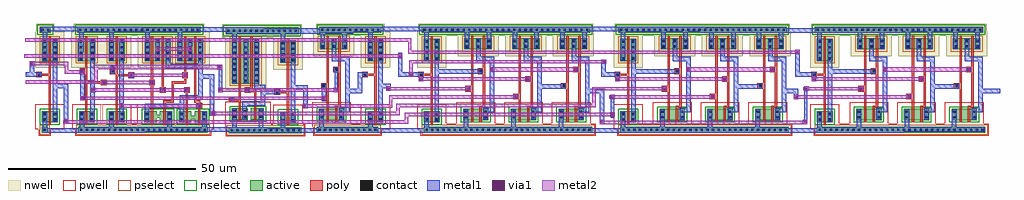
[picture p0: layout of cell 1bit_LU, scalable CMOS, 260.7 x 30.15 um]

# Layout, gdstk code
import gdstk
lib = gdstk.Library(unit=1e-6, precision=1e-09)
def R(c, l, rs):  # rectangles x0, y0, x1, y1
    for r in rs: c.add(gdstk.rectangle(r[:2], r[2:], *l))
def A(c, l, x, y, w, h, nx, ny, dx, dy):  # array of equal rectangles
    R(c, l, [(x+i*dx, y+j*dy, x+i*dx+w, y+j*dy+h) for i in range(nx) for j in range(ny)])
contact = (25, 0)
pwell = (41, 0)
nwell = (42, 0)
active = (43, 0)
pselect = (44, 0)
nselect = (45, 0)
poly = (46, 0)
metal1 = (49, 0)
via1 = (50, 0)
metal2 = (51, 0)

c_2mux1 = lib.new_cell('2mux1')
A(c_2mux1, contact, -28.2, 1.35, 0.6, 0.6, 30, 1, 1.5, 0)
A(c_2mux1, contact, -28.2, 20.4, 0.6, 0.6, 1, 4, 0, 1.5)
A(c_2mux1, contact, -25.5, 20.4, 0.6, 0.6, 1, 4, 0, 1.5)
A(c_2mux1, contact, -28.8, 28.05, 0.6, 0.6, 30, 1, 1.5, 0)
R(c_2mux1, contact, [(-28.2,4.05,-27.6,4.65), (-25.5,4.05,-24.9,4.65), (-17.7,4.65,-17.1,5.25), (-12.45,4.65,-11.85,5.25), (-4.95,4.65,-4.35,5.25), (0.3,4.65,0.9,5.25), (7.8,4.65,8.4,5.25), (13.05,4.65,13.65,5.25), (-28.2,5.55,-27.6,6.15), (-25.5,5.55,-24.9,6.15), (-17.7,6.15,-17.1,6.75), (-12.45,6.15,-11.85,6.75), (-4.95,6.15,-4.35,6.75), (0.3,6.15,0.9,6.75), (7.8,6.15,8.4,6.75), (13.05,6.15,13.65,6.75), (-4.35,10.2,-3.75,10.8), (-17.1,12.3,-16.5,12.9), (8.4,13.05,9,13.65), (-1.05,14.85,-0.45,15.45), (-29.7,16.05,-29.1,16.65), (-13.8,16.95,-13.2,17.55), (11.7,17.4,12.3,18), (-17.4,23.55,-16.8,24.15), (-14.4,23.55,-13.8,24.15), (-11.55,23.55,-10.95,24.15), (-4.65,23.55,-4.05,24.15), (-1.65,23.55,-1.05,24.15), (1.2,23.55,1.8,24.15), (8.1,23.55,8.7,24.15), (11.1,23.55,11.7,24.15), (13.95,23.55,14.55,24.15), (-17.4,25.05,-16.8,25.65), (-14.4,25.05,-13.8,25.65), (-11.55,25.05,-10.95,25.65), (-4.65,25.05,-4.05,25.65), (-1.65,25.05,-1.05,25.65), (1.2,25.05,1.8,25.65), (8.1,25.05,8.7,25.65), (11.1,25.05,11.7,25.65), (13.95,25.05,14.55,25.65)])
A(c_2mux1, pwell, -19.65, 3.15, 5.025, 4.5, 3, 1, 12.75, 0)
A(c_2mux1, pwell, -14.625, 3.45, 4.725, 4.5, 3, 1, 12.75, 0)
A(c_2mux1, pwell, -16.875, 3.6, 4.5, 4.5, 3, 1, 12.75, 0)
R(c_2mux1, pwell, [(-29.55,0,17.25,3.3), (-30.45,1.8,-25.35,8.4), (-29.55,1.8,-23.55,8.4), (-27.75,1.8,-22.65,8.4), (-19.95,2.4,-14.85,9), (-18.75,2.4,-12.75,9), (-16.5,2.4,-10.5,9), (-14.7,2.4,-9.6,9), (-7.2,2.4,-2.1,9), (-6,2.4,0,9), (-3.75,2.4,2.25,9), (-1.95,2.4,3.15,9), (5.55,2.4,10.65,9), (6.75,2.4,12.75,9), (9,2.4,15,9), (10.8,2.4,15.9,9), (-30.15,2.85,-25.425,7.35), (-27.675,2.85,-22.95,7.35)])
A(c_2mux1, nwell, -16.875, 23.1, 5.175, 4.5, 3, 1, 12.75, 0)
A(c_2mux1, nwell, -13.725, 23.1, 4.875, 4.5, 3, 1, 12.75, 0)
R(c_2mux1, nwell, [(-30.45,18.15,-25.35,27.75), (-29.55,18.15,-23.55,27.75), (-27.75,18.15,-22.65,27.75), (-30.15,20.7,-25.425,25.2), (-27.675,20.7,-22.95,25.2), (-19.65,21.3,-14.55,27.9), (-18.75,21.3,-12.75,27.9), (-16.65,21.3,-11.55,27.9), (-15.6,21.3,-9.6,27.9), (-13.8,21.3,-8.7,27.9), (-6.9,21.3,-1.8,27.9), (-6,21.3,0,27.9), (-3.9,21.3,1.2,27.9), (-2.85,21.3,3.15,27.9), (-1.05,21.3,4.05,27.9), (5.85,21.3,10.95,27.9), (6.75,21.3,12.75,27.9), (8.85,21.3,13.95,27.9), (9.9,21.3,15.9,27.9), (11.7,21.3,16.8,27.9), (-19.35,23.1,-14.625,27.6), (-16.2,23.1,-11.475,27.6), (-6.6,23.1,-1.875,27.6), (-3.45,23.1,1.275,27.6), (6.15,23.1,10.875,27.6), (9.3,23.1,14.025,27.6), (-30.15,26.7,16.65,30)])
A(c_2mux1, active, -17.85, 4.95, 1.425, 0.9, 3, 1, 12.75, 0)
A(c_2mux1, active, -12.825, 5.25, 1.125, 0.9, 3, 1, 12.75, 0)
A(c_2mux1, active, -15.075, 5.4, 0.9, 0.9, 3, 1, 12.75, 0)
A(c_2mux1, active, -15.075, 24.9, 1.575, 0.9, 3, 1, 12.75, 0)
A(c_2mux1, active, -11.925, 24.9, 1.275, 0.9, 3, 1, 12.75, 0)
R(c_2mux1, active, [(-28.65,0.9,16.35,2.4), (-28.65,3.6,-27.15,6.6), (-27.75,3.6,-25.35,6.6), (-25.95,3.6,-24.45,6.6), (-18.15,4.2,-16.65,7.2), (-16.95,4.2,-14.55,7.2), (-14.7,4.2,-12.3,7.2), (-12.9,4.2,-11.4,7.2), (-5.4,4.2,-3.9,7.2), (-4.2,4.2,-1.8,7.2), (-1.95,4.2,0.45,7.2), (-0.15,4.2,1.35,7.2), (7.35,4.2,8.85,7.2), (8.55,4.2,10.95,7.2), (10.8,4.2,13.2,7.2), (12.6,4.2,14.1,7.2), (-28.35,4.65,-27.225,5.55), (-25.875,4.65,-24.75,5.55), (-28.65,19.95,-27.15,25.95), (-27.75,19.95,-25.35,25.95), (-25.95,19.95,-24.45,25.95), (-28.35,22.5,-27.225,23.4), (-25.875,22.5,-24.75,23.4), (-17.85,23.1,-16.35,26.1), (-16.95,23.1,-14.55,26.1), (-14.85,23.1,-13.35,26.1), (-13.8,23.1,-11.4,26.1), (-12,23.1,-10.5,26.1), (-5.1,23.1,-3.6,26.1), (-4.2,23.1,-1.8,26.1), (-2.1,23.1,-0.6,26.1), (-1.05,23.1,1.35,26.1), (0.75,23.1,2.25,26.1), (7.65,23.1,9.15,26.1), (8.55,23.1,10.95,26.1), (10.65,23.1,12.15,26.1), (11.7,23.1,14.1,26.1), (13.5,23.1,15,26.1), (-17.55,24.9,-16.425,25.8), (-14.4,24.9,-13.275,25.8), (-4.8,24.9,-3.675,25.8), (-1.65,24.9,-0.525,25.8), (7.95,24.9,9.075,25.8), (11.1,24.9,12.225,25.8), (-29.25,27.6,15.75,29.1)])
A(c_2mux1, pselect, -15.675, 24.3, 2.775, 2.1, 3, 1, 12.75, 0)
A(c_2mux1, pselect, -12.525, 24.3, 2.475, 2.1, 3, 1, 12.75, 0)
R(c_2mux1, pselect, [(-29.25,0.3,16.95,3), (-29.25,19.35,-26.55,26.55), (-28.35,19.35,-24.75,26.55), (-26.55,19.35,-23.85,26.55), (-28.95,21.9,-26.625,24), (-26.475,21.9,-24.15,24), (-18.45,22.5,-15.75,26.7), (-17.55,22.5,-13.95,26.7), (-15.45,22.5,-12.75,26.7), (-14.4,22.5,-10.8,26.7), (-12.6,22.5,-9.9,26.7), (-5.7,22.5,-3,26.7), (-4.8,22.5,-1.2,26.7), (-2.7,22.5,0,26.7), (-1.65,22.5,1.95,26.7), (0.15,22.5,2.85,26.7), (7.05,22.5,9.75,26.7), (7.95,22.5,11.55,26.7), (10.05,22.5,12.75,26.7), (11.1,22.5,14.7,26.7), (12.9,22.5,15.6,26.7), (-18.15,24.3,-15.825,26.4), (-15,24.3,-12.675,26.4), (-5.4,24.3,-3.075,26.4), (-2.25,24.3,0.075,26.4), (7.35,24.3,9.675,26.4), (10.5,24.3,12.825,26.4)])
A(c_2mux1, nselect, -18.45, 4.35, 2.625, 2.1, 3, 1, 12.75, 0)
A(c_2mux1, nselect, -13.425, 4.65, 2.325, 2.1, 3, 1, 12.75, 0)
A(c_2mux1, nselect, -15.675, 4.8, 2.1, 2.1, 3, 1, 12.75, 0)
R(c_2mux1, nselect, [(-29.25,3,-26.55,7.2), (-28.35,3,-24.75,7.2), (-26.55,3,-23.85,7.2), (-18.75,3.6,-16.05,7.8), (-17.55,3.6,-13.95,7.8), (-15.3,3.6,-11.7,7.8), (-13.5,3.6,-10.8,7.8), (-6,3.6,-3.3,7.8), (-4.8,3.6,-1.2,7.8), (-2.55,3.6,1.05,7.8), (-0.75,3.6,1.95,7.8), (6.75,3.6,9.45,7.8), (7.95,3.6,11.55,7.8), (10.2,3.6,13.8,7.8), (12,3.6,14.7,7.8), (-28.95,4.05,-26.625,6.15), (-26.475,4.05,-24.15,6.15), (-29.85,27,16.35,29.7)])
A(c_2mux1, poly, -13.8, 7.5, 1.5, 0.6, 3, 1, 12.75, 0)
R(c_2mux1, poly, [(-26.85,3,-26.25,7.2), (-16.05,3.6,-15.45,7.8), (-13.8,3.6,-13.2,7.8), (-3.3,3.6,-2.7,7.8), (-1.05,3.6,-0.45,7.8), (9.45,3.6,10.05,7.8), (11.7,3.6,12.3,7.8), (-26.85,6.9,-26.25,7.5), (-26.85,6.9,-26.25,16.65), (-16.05,7.5,-15.45,12.75), (-12.9,7.5,-12.3,17.4), (-3.3,7.5,-2.7,10.65), (-0.15,7.5,0.45,15.45), (9.45,7.5,10.05,13.5), (12.6,7.5,13.2,18.15), (-4.8,9.75,-3.3,11.25), (-4.5,10.05,-2.7,10.65), (-3.3,10.05,-2.7,22.8), (-17.55,11.85,-16.05,13.35), (-17.25,12.15,-15.45,12.75), (-16.05,12.15,-15.45,22.8), (7.95,12.6,9.45,14.1), (8.25,12.9,10.05,13.5), (9.45,12.9,10.05,22.8), (-1.5,14.4,0,15.9), (-1.05,14.85,0.45,15.45), (-0.15,14.85,0.45,22.8), (-30.15,15.6,-28.65,17.1), (-29.7,16.05,-26.25,16.65), (-26.85,16.05,-26.25,19.65), (-14.25,16.5,-12.75,18), (-13.8,16.8,-12.3,17.4), (-12.9,16.8,-12.3,22.8), (11.25,16.95,12.75,18.45), (11.7,17.55,13.2,18.15), (12.6,17.55,13.2,22.8), (-26.85,19.35,-26.25,26.55), (-16.05,22.5,-15.45,26.7), (-12.9,22.5,-12.3,26.7), (-3.3,22.5,-2.7,26.7), (-0.15,22.5,0.45,26.7), (9.45,22.5,10.05,26.7), (12.6,22.5,13.2,26.7)])
A(c_2mux1, metal1, -12.75, 5.1, 1.2, 2.4, 3, 1, 12.75, 0)
A(c_2mux1, metal1, -12.75, 6.3, 2.85, 1.2, 3, 2, 12.75, 13.65)
A(c_2mux1, metal1, -14.7, 19.95, 3.15, 1.2, 3, 1, 12.75, 0)
A(c_2mux1, metal1, -14.7, 19.95, 1.2, 6, 3, 1, 12.75, 0)
R(c_2mux1, metal1, [(-28.5,1.05,16.2,2.25), (-28.5,1.05,-27.3,5.7), (-18,1.05,-16.8,6.3), (-5.25,1.05,-4.05,6.3), (7.35,1.05,8.55,6.3), (-28.5,3.75,-27.3,6.45), (-25.8,3.75,-24.6,6.45), (-18,4.35,-16.8,7.05), (-12.75,4.35,-11.55,7.05), (-5.25,4.35,-4.05,7.05), (0,4.35,1.2,7.05), (7.5,4.35,8.7,7.05), (12.75,4.35,13.95,7.05), (-25.8,4.5,-24.6,17.85), (-11.1,6.3,-9.9,18), (1.65,6.3,2.85,13.8), (14.4,6.3,15.6,12.6), (-4.8,9.9,-3.45,11.1), (-4.65,9.9,-3.45,11.1), (-4.65,9.9,-3.45,11.1), (14.4,11.4,17.25,12.6), (14.4,11.4,15.6,21.15), (-17.4,12,-16.2,13.2), (-17.4,12,-16.2,13.2), (-17.25,12,-16.35,13.05), (1.65,12.6,2.85,21.15), (1.65,12.6,4.95,13.8), (3.75,12.6,9.3,13.8), (8.1,12.6,9.3,13.95), (8.1,12.75,9.3,13.95), (-30,14.55,-28.8,15.75), (-30,14.55,-28.8,16.95), (-1.35,14.55,-0.15,15.75), (-1.35,14.55,-0.15,15.75), (-1.2,14.7,-0.3,15.6), (-31.65,15.75,-28.8,16.95), (-30,15.75,-28.8,16.95), (-25.8,16.65,-24.6,23.55), (-25.8,16.65,-12.9,17.85), (-14.1,16.65,-12.9,17.85), (-11.1,16.8,-9.9,21.15), (-11.1,17.1,-9.9,18.3), (11.25,17.1,12.45,18.3), (11.25,17.1,12.45,18.3), (11.25,17.1,12.6,18.3), (11.25,17.1,12.6,18.3), (11.4,17.1,12.6,18.3), (-28.5,20.1,-27.3,25.8), (-25.8,20.1,-24.6,25.8), (-28.5,22.35,-27.3,28.95), (-17.7,23.25,-16.5,25.95), (-14.7,23.25,-13.5,25.95), (-11.85,23.25,-10.65,25.95), (-4.95,23.25,-3.75,25.95), (-1.95,23.25,-0.75,25.95), (0.9,23.25,2.1,25.95), (7.8,23.25,9,25.95), (10.8,23.25,12,25.95), (13.65,23.25,14.85,25.95), (-17.7,24,-16.5,28.95), (-11.85,24,-10.65,28.95), (-4.95,24,-3.75,28.95), (0.9,24,2.1,28.95), (7.8,24,9,28.95), (13.65,24,14.85,28.95), (-29.1,27.75,15.6,28.95), (-2.4,27.75,2.1,28.95)])
R(c_2mux1, via1, [(-4.35,10.2,-3.75,10.8), (-17.1,12.3,-16.5,12.9), (-29.7,14.85,-29.1,15.45), (-1.05,14.85,-0.45,15.45), (-10.8,17.4,-10.2,18), (11.55,17.4,12.15,18), (11.55,17.4,12.15,18)])
R(c_2mux1, metal2, [(-31.65,9.9,-3.75,10.8), (-4.65,9.9,-3.45,11.1), (-4.65,9.9,-3.75,10.95), (-17.4,12,-16.2,13.2), (-31.65,12.15,-18.3,13.05), (-19.2,12.15,-16.35,13.05), (-30,14.55,-28.8,15.75), (-1.35,14.55,-0.15,15.75), (-29.85,14.7,-5.25,15.6), (-6.15,14.7,-0.3,15.6), (-11.1,17.1,-9.9,18.3), (-11.1,17.1,-6.15,18.3), (-7.35,17.1,12.45,18.3), (11.25,17.1,12.45,18.3), (11.25,17.1,12.45,18.3), (11.25,17.1,12.45,18.3)])

c_4mux1 = lib.new_cell('4mux1')
R(c_4mux1, metal1, [(-52.65,0.9,1.05,2.1), (-0.15,0.9,53.55,2.1), (-27.6,3.15,-26.4,4.35), (26.7,3.15,27.9,4.35), (-27.6,3.45,-26.4,12.6), (-27.6,3.45,-26.4,5.1), (27,3.6,27.9,7.65), (-24.6,4.8,-23.7,7.2), (-24.6,4.8,-23.7,6.15), (-24.75,5.1,-23.55,6.3), (-24.6,6.3,-23.7,10.8), (27,6.75,27.9,13.05), (-24.75,9.75,-23.55,10.95), (24.3,9.75,25.5,10.95), (24.3,9.75,25.5,12.6), (-29.85,11.4,-26.4,12.6), (22.65,11.4,25.5,12.6), (75.15,11.4,78.45,12.6), (27,12,28.2,13.2), (-79.95,15.75,-77.4,16.95), (-78.6,15.75,-77.4,16.95), (-78.6,15.75,-76.35,16.95), (-27.15,15.75,-25.95,20.4), (-27.15,15.75,-23.85,16.95), (24.6,15.75,28.65,16.95), (24.6,15.75,25.8,22.95), (-27,19.2,-25.8,20.4), (24.6,21.75,25.8,22.95), (-0.75,27.6,52.95,28.8), (-53.25,27.9,0.45,29.1)])
R(c_4mux1, via1, [(-27.3,3.45,-26.7,4.05), (27,3.45,27.6,4.05), (-24.45,5.4,-23.85,6), (-24.45,10.05,-23.85,10.65), (24.6,10.05,25.2,10.65), (27.3,12.3,27.9,12.9), (-78.3,16.05,-77.7,16.65), (-26.7,19.5,-26.1,20.1), (24.9,22.05,25.5,22.65)])
R(c_4mux1, metal2, [(-27.6,3.15,-26.4,4.35), (-27.45,3.15,-24.3,4.05), (-25.2,3.15,27.75,4.05), (26.7,3.15,27.9,4.35), (-24.75,5.1,-23.55,6.3), (-78.9,5.25,-26.55,6.15), (-27.45,5.25,-23.7,6.15), (-78.9,7.65,-28.65,8.55), (-29.55,7.65,-28.65,13.05), (-24.75,9.75,-23.55,10.95), (24.3,9.75,25.5,10.95), (-78.9,9.9,-76.65,10.8), (-25.05,9.9,-23.7,10.8), (24.45,9.9,28.35,10.8), (27,12,28.2,13.2), (-78.9,12.15,-76.65,13.05), (-29.55,12.15,-24.15,13.05), (26.85,12.15,28.35,13.05), (-78.6,15.75,-77.4,16.95), (-78.45,15.9,-77.55,20.25), (-27,19.2,-25.8,20.4), (-78.45,19.35,-25.95,20.25), (24.6,21.75,25.8,22.95), (-78.75,21.9,-24.3,22.8), (-25.2,21.9,25.65,22.8)])
c_4mux1.add(gdstk.Reference(c_2mux1, (-45.9,0)))
c_4mux1.add(gdstk.Reference(c_2mux1, (6.6,0)))
c_4mux1.add(gdstk.Reference(c_2mux1, (59.1,0)))

and_ = lib.new_cell('and')
A(and_, contact, -12.6, 1.35, 0.6, 0.6, 11, 1, 1.5, 0)
A(and_, contact, 1.05, 20.4, 0.6, 0.6, 1, 4, 0, 1.5)
A(and_, contact, 3.75, 20.4, 0.6, 0.6, 1, 4, 0, 1.5)
A(and_, contact, -11.85, 28.05, 0.6, 0.6, 11, 1, 1.5, 0)
R(and_, contact, [(1.05,4.05,1.65,4.65), (3.75,4.05,4.35,4.65), (-12,4.65,-11.4,5.25), (-6.75,4.65,-6.15,5.25), (1.05,5.55,1.65,6.15), (3.75,5.55,4.35,6.15), (-12,6.15,-11.4,6.75), (-6.75,6.15,-6.15,6.75), (-11.4,13.05,-10.8,13.65), (-0.45,16.05,0.15,16.65), (-8.1,17.4,-7.5,18), (-11.7,23.55,-11.1,24.15), (-8.7,23.55,-8.1,24.15), (-5.85,23.55,-5.25,24.15), (-11.7,25.05,-11.1,25.65), (-8.7,25.05,-8.1,25.65), (-5.85,25.05,-5.25,25.65)])
R(and_, pwell, [(-13.95,0,4.35,3.3), (-1.2,1.8,3.9,8.4), (-0.3,1.8,5.7,8.4), (1.5,1.8,6.6,8.4), (-14.25,2.4,-9.15,9), (-13.05,2.4,-7.05,9), (-10.8,2.4,-4.8,9), (-9,2.4,-3.9,9), (-0.9,2.85,3.825,7.35), (1.575,2.85,6.3,7.35), (-13.95,3.15,-8.925,7.65), (-8.925,3.45,-4.2,7.95), (-11.175,3.6,-6.675,8.1)])
R(and_, nwell, [(-1.2,18.15,3.9,27.75), (-0.3,18.15,5.7,27.75), (1.5,18.15,6.6,27.75), (-0.9,20.7,3.825,25.2), (1.575,20.7,6.3,25.2), (-13.95,21.3,-8.85,27.9), (-13.05,21.3,-7.05,27.9), (-10.95,21.3,-5.85,27.9), (-9.9,21.3,-3.9,27.9), (-8.1,21.3,-3,27.9), (-13.65,23.25,-8.925,27.75), (-11.175,23.25,-6,27.75), (-10.5,23.25,-5.775,27.75), (-8.025,23.25,-3.15,27.75), (-13.2,26.7,5.1,30)])
R(and_, active, [(-13.05,0.9,3.45,2.4), (0.6,3.6,2.1,6.6), (1.5,3.6,3.9,6.6), (3.3,3.6,4.8,6.6), (-12.45,4.2,-10.95,7.2), (-11.25,4.2,-8.85,7.2), (-9,4.2,-6.6,7.2), (-7.2,4.2,-5.7,7.2), (0.9,4.65,2.025,5.55), (3.375,4.65,4.5,5.55), (-12.15,4.95,-10.725,5.85), (-7.125,5.25,-6,6.15), (-9.375,5.4,-8.475,6.3), (0.6,19.95,2.1,25.95), (1.5,19.95,3.9,25.95), (3.3,19.95,4.8,25.95), (0.9,22.5,2.025,23.4), (3.375,22.5,4.5,23.4), (-12.15,23.1,-10.65,26.1), (-11.25,23.1,-8.85,26.1), (-9.15,23.1,-7.65,26.1), (-8.1,23.1,-5.7,26.1), (-6.3,23.1,-4.8,26.1), (-11.85,25.05,-10.725,25.95), (-9.375,25.05,-7.8,25.95), (-8.7,25.05,-7.575,25.95), (-6.225,25.05,-4.95,25.95), (-12.3,27.6,4.2,29.1)])
R(and_, pselect, [(-13.65,0.3,4.05,3), (0,19.35,2.7,26.55), (0.9,19.35,4.5,26.55), (2.7,19.35,5.4,26.55), (0.3,21.9,2.625,24), (2.775,21.9,5.1,24), (-12.75,22.5,-10.05,26.7), (-11.85,22.5,-8.25,26.7), (-9.75,22.5,-7.05,26.7), (-8.7,22.5,-5.1,26.7), (-6.9,22.5,-4.2,26.7), (-12.45,24.45,-10.125,26.55), (-9.975,24.45,-7.2,26.55), (-9.3,24.45,-6.975,26.55), (-6.825,24.45,-4.35,26.55)])
R(and_, nselect, [(0,3,2.7,7.2), (0.9,3,4.5,7.2), (2.7,3,5.4,7.2), (-13.05,3.6,-10.35,7.8), (-11.85,3.6,-8.25,7.8), (-9.6,3.6,-6,7.8), (-7.8,3.6,-5.1,7.8), (0.3,4.05,2.625,6.15), (2.775,4.05,5.1,6.15), (-12.75,4.35,-10.125,6.45), (-7.725,4.65,-5.4,6.75), (-9.975,4.8,-7.875,6.9), (-12.9,27,4.8,29.7)])
R(and_, poly, [(2.4,3,3,7.2), (-10.35,3.6,-9.75,7.8), (-8.1,3.6,-7.5,7.8), (2.4,6.9,3,7.5), (2.4,6.9,3,16.65), (-10.35,7.5,-9.75,13.5), (-8.1,7.5,-6.6,8.1), (-7.2,7.5,-6.6,18.15), (-11.85,12.6,-10.35,14.1), (-11.55,12.9,-9.75,13.5), (-10.35,12.9,-9.75,22.8), (-0.9,15.6,0.6,17.1), (-0.45,16.05,3,16.65), (2.4,16.05,3,19.65), (-8.55,16.95,-7.05,18.45), (-8.1,17.55,-6.6,18.15), (-7.2,17.55,-6.6,22.8), (2.4,19.35,3,26.55), (-10.35,22.5,-9.75,26.7), (-7.2,22.5,-6.6,26.7)])
R(and_, metal1, [(-12.9,1.05,3.3,2.25), (-12.3,1.05,-11.1,6.3), (-5.85,1.05,1.95,2.25), (0.75,1.05,1.95,5.7), (0.75,3.75,1.95,6.45), (3.45,3.75,4.65,6.45), (-12.3,4.35,-11.1,7.05), (-7.05,4.35,-5.85,7.05), (3.45,4.5,4.65,13.95), (-7.05,5.1,-5.85,7.5), (-7.05,6.3,-4.2,7.5), (-5.4,6.3,-4.2,12.6), (-5.4,11.4,-4.2,21.15), (-5.4,11.4,-2.1,12.6), (-3.3,11.4,-0.9,12.6), (-2.1,11.4,-0.9,16.95), (-11.7,12.75,-10.5,13.95), (3.45,12.75,6.75,13.95), (3.45,12.75,4.65,23.55), (-2.1,15.75,0.45,16.95), (-0.75,15.75,0.45,16.95), (-8.4,17.1,-7.2,18.3), (-9,19.95,-5.85,21.15), (-9,19.95,-7.8,25.95), (-7.05,19.95,-4.2,21.15), (0.75,20.1,1.95,25.8), (3.45,20.1,4.65,25.8), (0.75,22.35,1.95,28.95), (-12,23.25,-10.8,25.95), (-9,23.25,-7.8,25.95), (-6.15,23.25,-4.95,25.95), (-12,24,-10.8,28.95), (-6.15,24,-4.95,28.95), (-12.15,27.75,4.05,28.95), (-9.45,27.75,-4.95,28.95)])

not_ = lib.new_cell('not')
A(not_, contact, 1.35, 20.4, 0.6, 0.6, 1, 4, 0, 1.5)
A(not_, contact, 4.05, 20.4, 0.6, 0.6, 1, 4, 0, 1.5)
R(not_, contact, [(1.35,1.35,1.95,1.95), (1.35,4.05,1.95,4.65), (4.05,4.05,4.65,4.65), (1.35,5.55,1.95,6.15), (4.05,5.55,4.65,6.15), (-0.15,16.05,0.45,16.65), (0.75,28.05,1.35,28.65), (2.25,28.05,2.85,28.65)])
R(not_, pwell, [(0,0,3.3,3.3), (-0.9,1.8,4.2,8.4), (0,1.8,6,8.4), (1.8,1.8,6.9,8.4), (-0.6,2.85,4.125,7.35), (1.875,2.85,6.6,7.35)])
R(not_, nwell, [(-0.9,18.15,4.2,27.75), (0,18.15,6,27.75), (1.8,18.15,6.9,27.75), (-0.6,20.7,4.125,25.2), (1.875,20.7,6.6,25.2), (-0.6,26.7,4.2,30)])
R(not_, active, [(0.9,0.9,2.4,2.4), (0.9,3.6,2.4,6.6), (1.8,3.6,4.2,6.6), (3.6,3.6,5.1,6.6), (1.2,4.65,2.325,5.55), (3.675,4.65,4.8,5.55), (0.9,19.95,2.4,25.95), (1.8,19.95,4.2,25.95), (3.6,19.95,5.1,25.95), (1.2,22.5,2.325,23.4), (3.675,22.5,4.8,23.4), (0.3,27.6,3.3,29.1)])
R(not_, pselect, [(0.3,0.3,3,3), (0.3,19.35,3,26.55), (1.2,19.35,4.8,26.55), (3,19.35,5.7,26.55), (0.6,21.9,2.925,24), (3.075,21.9,5.4,24)])
R(not_, nselect, [(0.3,3,3,7.2), (1.2,3,4.8,7.2), (3,3,5.7,7.2), (0.6,4.05,2.925,6.15), (3.075,4.05,5.4,6.15), (-0.3,27,3.9,29.7)])
R(not_, poly, [(2.7,3,3.3,7.2), (2.7,6.9,3.3,7.5), (2.7,6.9,3.3,16.65), (-0.6,15.6,0.9,17.1), (-0.15,16.05,3.3,16.65), (2.7,16.05,3.3,19.65), (2.7,19.35,3.3,26.55)])
R(not_, metal1, [(1.05,1.05,2.25,2.25), (1.05,1.2,2.25,2.4), (1.05,1.2,2.25,5.7), (1.05,3.75,2.25,6.45), (3.75,3.75,4.95,6.45), (3.75,4.5,4.95,13.95), (3.75,12.75,4.95,23.55), (3.75,12.75,7.05,13.95), (-0.45,15.75,0.75,16.95), (1.05,20.1,2.25,25.8), (3.75,20.1,4.95,25.8), (1.05,22.35,2.25,28.8), (0.45,27.75,3.15,28.95)])

c_or = lib.new_cell('or')
A(c_or, contact, 1.5, 1.35, 0.6, 0.6, 13, 1, 1.5, 0)
A(c_or, contact, 2.25, 14.55, 0.6, 0.6, 1, 8, 0, 1.5)
A(c_or, contact, 5.25, 14.55, 0.6, 0.6, 1, 8, 0, 1.5)
A(c_or, contact, 8.1, 14.55, 0.6, 0.6, 1, 8, 0, 1.5)
A(c_or, contact, 15.15, 20.1, 0.6, 0.6, 1, 4, 0, 1.5)
A(c_or, contact, 17.85, 20.1, 0.6, 0.6, 1, 4, 0, 1.5)
A(c_or, contact, 0.6, 27.9, 0.6, 0.6, 13, 1, 1.5, 0)
R(c_or, contact, [(15.15,4.05,15.75,4.65), (17.85,4.05,18.45,4.65), (2.25,4.95,2.85,5.55), (4.95,4.95,5.55,5.55), (9.3,4.95,9.9,5.55), (15.15,5.55,15.75,6.15), (17.85,5.55,18.45,6.15), (2.25,6.45,2.85,7.05), (4.95,6.45,5.55,7.05), (9.3,6.45,9.9,7.05), (1.5,9.6,2.1,10.2), (13.65,11.55,14.25,12.15), (5.7,12.15,6.3,12.75)])
R(c_or, pwell, [(0.15,0,21.45,3.3), (12.9,1.8,18,8.4), (13.8,1.8,19.8,8.4), (15.6,1.8,20.7,8.4), (0,2.7,5.1,9.3), (0.9,2.7,6.9,9.3), (2.7,2.7,7.8,9.3), (5.1,2.7,11.1,9.3), (7.05,2.7,12.15,9.3), (13.2,2.85,17.925,7.35), (15.675,2.85,20.4,7.35), (0.3,3.6,5.025,8.1), (6.975,3.75,11.7,8.25), (2.775,3.9,7.65,8.4), (3.15,3.9,9.225,8.4)])
R(c_or, nwell, [(0,12.3,5.1,27.9), (0.9,12.3,6.9,27.9), (3,12.3,8.1,27.9), (4.05,12.3,10.05,27.9), (5.85,12.3,10.95,27.9), (12.9,17.85,18,27.45), (13.8,17.85,19.8,27.45), (15.6,17.85,20.7,27.45), (0.3,18.6,5.025,23.1), (2.775,18.6,7.95,23.1), (3.45,18.6,8.175,23.1), (5.925,18.6,10.8,23.1), (13.2,20.4,17.925,24.9), (15.675,20.4,20.4,24.9), (-0.75,26.4,20.55,30)])
R(c_or, active, [(1.05,0.9,20.55,2.4), (14.7,3.6,16.2,6.6), (15.6,3.6,18,6.6), (17.4,3.6,18.9,6.6), (1.8,4.5,3.3,7.5), (2.7,4.5,5.1,7.5), (4.5,4.5,6,7.5), (6.9,4.5,9.3,7.5), (8.85,4.5,10.35,7.5), (15,4.65,16.125,5.55), (17.475,4.65,18.6,5.55), (2.1,5.4,3.225,6.3), (8.775,5.55,9.9,6.45), (4.575,5.7,5.85,6.6), (4.95,5.7,7.425,6.6), (1.8,14.1,3.3,26.1), (2.7,14.1,5.1,26.1), (4.8,14.1,6.3,26.1), (5.85,14.1,8.25,26.1), (7.65,14.1,9.15,26.1), (14.7,19.65,16.2,25.65), (15.6,19.65,18,25.65), (17.4,19.65,18.9,25.65), (2.1,20.4,3.225,21.3), (4.575,20.4,6.15,21.3), (5.25,20.4,6.375,21.3), (7.725,20.4,9,21.3), (15,22.2,16.125,23.1), (17.475,22.2,18.6,23.1), (0.15,27.3,19.65,29.1)])
R(c_or, pselect, [(0.45,0.3,21.15,3), (1.2,13.5,3.9,26.7), (2.1,13.5,5.7,26.7), (4.2,13.5,6.9,26.7), (5.25,13.5,8.85,26.7), (7.05,13.5,9.75,26.7), (14.1,19.05,16.8,26.25), (15,19.05,18.6,26.25), (16.8,19.05,19.5,26.25), (1.5,19.8,3.825,21.9), (3.975,19.8,6.75,21.9), (4.65,19.8,6.975,21.9), (7.125,19.8,9.6,21.9), (14.4,21.6,16.725,23.7), (16.875,21.6,19.2,23.7)])
R(c_or, nselect, [(14.1,3,16.8,7.2), (15,3,18.6,7.2), (16.8,3,19.5,7.2), (1.2,3.9,3.9,8.1), (2.1,3.9,5.7,8.1), (3.9,3.9,6.6,8.1), (6.3,3.9,9.9,8.1), (8.25,3.9,10.95,8.1), (14.4,4.05,16.725,6.15), (16.875,4.05,19.2,6.15), (1.5,4.8,3.825,6.9), (8.175,4.95,10.5,7.05), (3.975,5.1,6.45,7.2), (4.35,5.1,8.025,7.2), (-0.45,26.7,20.25,29.7)])
R(c_or, poly, [(16.5,3,17.1,7.2), (3.6,3.9,4.2,8.1), (7.8,3.9,8.4,8.1), (16.5,6.9,17.1,7.5), (16.5,6.9,17.1,12.15), (3.6,7.8,4.2,10.05), (7.8,7.8,8.4,12.45), (1.05,9.15,2.55,10.65), (1.5,9.45,4.2,10.05), (3.6,9.45,4.2,10.2), (3.6,9.6,4.2,11.1), (3.6,9.6,4.2,10.8), (3.6,10.5,4.2,13.8), (13.2,11.1,14.7,12.6), (13.65,11.55,17.1,12.15), (16.5,11.55,17.1,19.35), (5.25,11.7,6.75,13.2), (6.75,11.85,7.35,12.9), (6.75,11.85,8.4,12.45), (5.55,12.3,7.35,12.9), (6.75,12.3,7.35,13.8), (3.6,13.5,4.2,26.7), (6.75,13.5,7.35,26.7), (16.5,19.05,17.1,26.25)])
R(c_or, metal1, [(1.2,1.05,20.4,2.25), (1.95,1.05,3.15,6.6), (9,1.05,10.2,6.6), (14.85,1.05,16.05,5.7), (14.85,3.75,16.05,6.45), (17.55,3.75,18.75,6.45), (17.55,4.5,18.75,13.65), (1.95,4.65,3.15,7.35), (4.65,4.65,5.85,7.35), (9,4.65,10.2,7.35), (4.65,5.4,5.85,8.55), (4.65,7.35,5.85,9.45), (4.65,8.25,10.8,9.45), (9.6,8.25,10.8,12.45), (1.2,9.3,2.4,10.5), (9.6,11.25,10.8,13.8), (9.6,11.25,14.55,12.45), (13.35,11.25,14.55,12.45), (5.4,11.85,6.6,13.05), (17.55,12.45,18.75,23.25), (17.55,12.45,20.4,13.65), (7.8,12.6,10.8,13.8), (7.8,12.6,9,20.7), (1.95,14.25,3.15,25.95), (4.95,14.25,6.15,25.95), (7.8,14.25,9,25.95), (1.95,19.5,3.15,28.65), (14.85,19.8,16.05,25.5), (17.55,19.8,18.75,25.5), (14.85,22.05,16.05,28.65), (0.3,27.45,19.5,28.95)])

xor = lib.new_cell('xor')
A(xor, contact, -5.1, 1.35, 0.6, 0.6, 23, 1, 1.5, 0)
A(xor, contact, -5.25, 20.4, 0.6, 0.6, 1, 4, 0, 1.5)
A(xor, contact, -2.1, 20.4, 0.6, 0.6, 1, 4, 0, 1.5)
A(xor, contact, 3, 20.4, 0.6, 0.6, 1, 4, 0, 1.5)
A(xor, contact, 5.7, 20.4, 0.6, 0.6, 1, 4, 0, 1.5)
A(xor, contact, 12.6, 20.4, 0.6, 0.6, 3, 4, 2.7, 1.5)
A(xor, contact, 21.3, 20.4, 0.6, 0.6, 3, 4, 2.7, 1.5)
A(xor, contact, -5.4, 28.05, 0.6, 0.6, 22, 1, 1.5, 0)
R(xor, contact, [(-4.95,4.05,-4.35,4.65), (-2.25,4.05,-1.65,4.65), (3,4.05,3.6,4.65), (5.7,4.05,6.3,4.65), (12.45,4.05,13.05,4.65), (18.45,4.05,19.05,4.65), (21.75,4.05,22.35,4.65), (27.75,4.05,28.35,4.65), (-4.95,5.55,-4.35,6.15), (-2.25,5.55,-1.65,6.15), (3,5.55,3.6,6.15), (5.7,5.55,6.3,6.15), (12.45,5.55,13.05,6.15), (18.45,5.55,19.05,6.15), (21.75,5.55,22.35,6.15), (27.75,5.55,28.35,6.15), (26.4,7.8,27,8.4), (16.65,12,17.25,12.6), (23.1,12,23.7,12.6), (0.9,13.95,1.5,14.55), (13.8,13.95,14.4,14.55), (8.25,15.9,8.85,16.5), (22.65,15.9,23.25,16.5), (-4.8,16.95,-4.2,17.55), (3.3,16.95,3.9,17.55)])
R(xor, pwell, [(-6.45,0,29.85,3.3), (-7.2,1.8,-2.1,8.4), (-6.45,1.8,-0.45,8.4), (-4.5,1.8,0.6,8.4), (0.75,1.8,5.85,8.4), (1.65,1.8,7.65,8.4), (3.45,1.8,8.55,8.4), (10.2,1.8,15.3,8.4), (11.1,1.8,17.1,8.4), (14.4,1.8,20.4,8.4), (16.2,1.8,21.3,8.4), (19.5,1.8,24.6,8.4), (20.4,1.8,26.4,8.4), (23.7,1.8,29.7,8.4), (25.5,1.8,30.6,8.4), (22.275,2.7,27.825,7.2), (-6.9,2.85,-2.325,7.35), (-4.575,2.85,0.3,7.35), (1.05,2.85,5.775,7.35), (3.525,2.85,8.25,7.35), (10.35,2.85,15.225,7.35), (12.975,3,18.525,7.5), (16.275,3,21.15,7.5), (19.65,3.15,24.525,7.65), (25.575,3.3,30.45,7.8)])
A(xor, nwell, 10.35, 18.15, 5.1, 9.6, 3, 1, 2.7, 0)
A(xor, nwell, 19.05, 18.15, 5.1, 9.6, 3, 1, 2.7, 0)
R(xor, nwell, [(-7.5,18.15,-2.4,27.75), (-6.45,18.15,-0.45,27.75), (-4.35,18.15,0.75,27.75), (0.75,18.15,5.85,27.75), (1.65,18.15,7.65,27.75), (3.45,18.15,8.55,27.75), (11.1,18.15,17.1,27.75), (13.95,18.15,19.95,27.75), (19.95,18.15,25.95,27.75), (22.65,18.15,28.65,27.75), (10.65,19.8,15.225,24.3), (12.975,19.8,18,24.3), (-7.05,21.3,-2.325,25.8), (-4.575,21.3,0.45,25.8), (1.05,21.3,5.775,25.8), (3.525,21.3,8.25,25.8), (13.35,22.2,18.075,26.7), (15.825,22.2,20.7,26.7), (19.35,22.2,24.075,26.7), (21.825,22.2,26.7,26.7), (22.05,22.2,26.775,26.7), (24.525,22.2,29.4,26.7), (-6.75,26.7,28.05,30)])
A(xor, active, 12.15, 19.95, 1.5, 6, 3, 1, 2.7, 0)
A(xor, active, 20.85, 19.95, 1.5, 6, 3, 1, 2.7, 0)
R(xor, active, [(-5.55,0.9,28.95,2.4), (-5.4,3.6,-3.9,6.6), (-4.65,3.6,-2.25,6.6), (-2.7,3.6,-1.2,6.6), (2.55,3.6,4.05,6.6), (3.45,3.6,5.85,6.6), (5.25,3.6,6.75,6.6), (12,3.6,13.5,6.6), (12.9,3.6,15.3,6.6), (16.2,3.6,18.6,6.6), (18,3.6,19.5,6.6), (21.3,3.6,22.8,6.6), (22.2,3.6,24.6,6.6), (25.5,3.6,27.9,6.6), (27.3,3.6,28.8,6.6), (24.075,4.5,26.025,5.4), (-5.1,4.65,-4.125,5.55), (-2.775,4.65,-1.5,5.55), (2.85,4.65,3.975,5.55), (5.325,4.65,6.45,5.55), (12.15,4.65,13.425,5.55), (14.775,4.8,16.725,5.7), (18.075,4.8,19.35,5.7), (21.45,4.95,22.725,5.85), (27.375,5.1,28.65,6), (-5.7,19.95,-4.2,25.95), (-4.65,19.95,-2.25,25.95), (-2.55,19.95,-1.05,25.95), (2.55,19.95,4.05,25.95), (3.45,19.95,5.85,25.95), (5.25,19.95,6.75,25.95), (12.9,19.95,15.3,25.95), (15.75,19.95,18.15,25.95), (21.75,19.95,24.15,25.95), (24.45,19.95,26.85,25.95), (12.45,21.6,13.425,22.5), (14.775,21.6,16.2,22.5), (-5.25,23.1,-4.125,24), (-2.775,23.1,-1.35,24), (2.85,23.1,3.975,24), (5.325,23.1,6.45,24), (15.15,24,16.275,24.9), (17.625,24,18.9,24.9), (21.15,24,22.275,24.9), (23.625,24,24.9,24.9), (23.85,24,24.975,24.9), (26.325,24,27.6,24.9), (-5.85,27.6,27.15,29.1)])
A(xor, pselect, 11.55, 19.35, 2.7, 7.2, 3, 1, 2.7, 0)
A(xor, pselect, 20.25, 19.35, 2.7, 7.2, 3, 1, 2.7, 0)
R(xor, pselect, [(-6.15,0.3,29.55,3), (-6.3,19.35,-3.6,26.55), (-5.25,19.35,-1.65,26.55), (-3.15,19.35,-0.45,26.55), (1.95,19.35,4.65,26.55), (2.85,19.35,6.45,26.55), (4.65,19.35,7.35,26.55), (12.3,19.35,15.9,26.55), (15.15,19.35,18.75,26.55), (21.15,19.35,24.75,26.55), (23.85,19.35,27.45,26.55), (11.85,21,14.025,23.1), (14.175,21,16.8,23.1), (-5.85,22.5,-3.525,24.6), (-3.375,22.5,-0.75,24.6), (2.25,22.5,4.575,24.6), (4.725,22.5,7.05,24.6), (14.55,23.4,16.875,25.5), (17.025,23.4,19.5,25.5), (20.55,23.4,22.875,25.5), (23.025,23.4,25.5,25.5), (23.25,23.4,25.575,25.5), (25.725,23.4,28.2,25.5)])
R(xor, nselect, [(-6,3,-3.3,7.2), (-5.25,3,-1.65,7.2), (-3.3,3,-0.6,7.2), (1.95,3,4.65,7.2), (2.85,3,6.45,7.2), (4.65,3,7.35,7.2), (11.4,3,14.1,7.2), (12.3,3,15.9,7.2), (15.6,3,19.2,7.2), (17.4,3,20.1,7.2), (20.7,3,23.4,7.2), (21.6,3,25.2,7.2), (24.9,3,28.5,7.2), (26.7,3,29.4,7.2), (23.475,3.9,26.625,6), (-5.7,4.05,-3.525,6.15), (-3.375,4.05,-0.9,6.15), (2.25,4.05,4.575,6.15), (4.725,4.05,7.05,6.15), (11.55,4.05,14.025,6.15), (14.175,4.2,17.325,6.3), (17.475,4.2,19.95,6.3), (20.85,4.35,23.325,6.45), (26.775,4.5,29.25,6.6), (-6.45,27,27.75,29.7)])
R(xor, poly, [(-3.75,3,-3.15,7.2), (4.35,3,4.95,7.2), (13.8,3,14.4,7.2), (17.1,3,17.7,7.2), (23.1,3,23.7,7.2), (26.4,3,27,7.2), (-3.75,6.9,-3.15,14.55), (4.35,6.9,4.95,7.5), (4.35,6.9,4.95,16.5), (13.8,6.9,14.4,14.55), (17.1,6.9,17.7,9.45), (23.1,6.9,23.7,12.6), (26.4,6.9,27,8.25), (25.95,7.35,27.45,8.85), (26.4,7.65,27,9.45), (17.1,8.85,19.95,9.45), (19.35,8.85,19.95,14.55), (25.35,8.85,27,9.45), (25.35,8.85,25.95,12.45), (16.2,11.55,17.7,13.05), (22.65,11.55,24.15,13.05), (25.35,11.85,25.95,19.65), (16.65,12,17.25,13.95), (16.65,13.35,17.25,19.65), (0.45,13.5,1.95,15), (13.35,13.5,14.85,15), (-3.75,13.95,-3.15,17.55), (-3.75,13.95,1.5,14.55), (13.8,13.95,14.4,19.65), (19.35,13.95,23.25,14.55), (22.65,13.95,23.25,16.5), (7.8,15.45,9.3,16.95), (22.2,15.45,23.7,16.95), (4.35,15.9,8.7,16.5), (4.35,15.9,4.95,17.55), (22.65,15.9,23.25,19.65), (-5.25,16.5,-3.75,18), (2.85,16.5,4.35,18), (-4.95,16.95,-3.15,17.55), (-3.75,16.95,-3.15,19.65), (3.15,16.95,4.95,17.55), (4.35,16.95,4.95,19.65), (-3.75,19.35,-3.15,26.55), (4.35,19.35,4.95,26.55), (13.8,19.35,14.4,26.55), (16.65,19.35,17.25,26.55), (22.65,19.35,23.25,26.55), (25.35,19.35,25.95,26.55)])
A(xor, metal1, 12.3, 20.1, 1.2, 5.7, 3, 1, 2.7, 0)
A(xor, metal1, 21, 20.1, 1.2, 5.7, 3, 1, 2.7, 0)
R(xor, metal1, [(-5.4,1.05,28.8,2.25), (-5.25,1.2,-4.05,5.7), (2.7,1.2,3.9,5.7), (18.15,1.2,19.35,5.7), (27.45,1.2,28.65,5.7), (-5.25,3.75,-4.05,6.45), (-2.55,3.75,-1.35,6.45), (2.7,3.75,3.9,6.45), (5.4,3.75,6.6,6.45), (12.15,3.75,13.35,6.45), (18.15,3.75,19.35,6.45), (21.45,3.75,22.65,6.45), (27.45,3.75,28.65,6.45), (-2.4,4.5,-1.2,12.9), (5.4,4.5,6.6,8.55), (12.15,4.5,13.35,8.55), (21.45,4.5,22.65,8.55), (12.15,7.35,22.65,8.55), (21.45,7.35,22.65,10.8), (26.1,7.35,27.3,8.55), (5.4,7.5,6.6,8.7), (5.4,7.5,6.6,23.55), (26.1,7.5,27.3,8.7), (26.25,7.65,27.15,8.55), (21.45,9.6,27.6,10.8), (26.4,9.6,27.6,16.5), (-2.4,11.7,-1.2,23.55), (-2.25,11.7,-1.05,12.9), (16.35,11.7,17.55,12.9), (16.35,11.7,17.55,12.9), (22.8,11.7,24,12.9), (22.8,11.7,24,12.9), (16.5,11.85,17.4,12.75), (22.95,11.85,23.85,12.75), (0.6,13.65,1.8,14.85), (0.6,13.65,1.8,14.85), (0.6,13.65,1.8,14.85), (13.5,13.65,14.7,14.85), (13.5,13.65,14.7,14.85), (0.75,13.8,1.65,14.7), (0.75,13.8,1.65,14.7), (13.65,13.8,14.55,14.7), (26.4,15.3,27.6,19.2), (26.4,15.3,29.4,16.5), (8.1,15.45,9.3,16.8), (7.8,15.6,9,16.8), (7.95,15.6,9.15,16.8), (22.35,15.6,23.55,16.8), (22.35,15.6,23.55,16.8), (22.35,15.6,23.55,16.8), (22.5,15.75,23.4,16.65), (22.5,15.75,23.4,16.65), (-5.1,16.65,-3.9,17.85), (3,16.65,4.2,17.85), (17.7,18,18.9,22.65), (17.7,18,19.35,19.2), (18.15,18,27.6,19.2), (26.4,18,27.6,22.65), (-5.55,20.1,-4.35,25.8), (-2.4,20.1,-1.2,25.8), (2.7,20.1,3.9,25.8), (5.4,20.1,6.6,25.8), (-5.4,22.35,-4.2,28.8), (2.7,22.35,3.9,28.8), (12.3,22.35,13.5,28.8), (21,22.35,22.2,28.8), (15,22.65,16.2,23.85), (15,22.65,16.2,25.05), (23.7,22.65,24.9,23.85), (23.7,22.65,24.9,25.05), (-5.7,27.75,27,28.95)])
R(xor, via1, [(26.4,7.65,27,8.25), (5.7,7.8,6.3,8.4), (-1.95,12,-1.35,12.6), (16.65,12,17.25,12.6), (23.1,12,23.7,12.6), (0.9,13.95,1.5,14.55), (0.9,13.95,1.5,14.55), (13.8,13.95,14.4,14.55), (8.1,15.9,8.7,16.5), (22.65,15.9,23.25,16.5), (22.65,15.9,23.25,16.5), (15.3,22.95,15.9,23.55), (24,22.95,24.6,23.55)])
R(xor, metal2, [(26.1,7.35,27.3,8.55), (5.4,7.5,6.6,8.7), (5.7,7.5,23.25,8.4), (22.35,7.5,27.15,8.4), (-2.25,11.7,-1.05,12.9), (16.35,11.7,17.55,12.9), (22.8,11.7,24,12.9), (-2.1,11.85,9.75,12.75), (8.85,11.85,17.4,12.75), (16.5,11.85,22.2,12.75), (21.3,11.85,23.85,12.75), (0.6,13.65,1.8,14.85), (0.6,13.65,1.8,14.85), (13.5,13.65,14.7,14.85), (0.75,13.8,10.65,14.7), (9.75,13.8,14.55,14.7), (7.8,15.6,9,16.8), (22.35,15.6,23.55,16.8), (22.35,15.6,23.55,16.8), (7.8,15.75,13.65,16.65), (12.75,15.75,23.4,16.65), (15,22.65,16.2,23.85), (23.7,22.65,24.9,23.85), (15.15,22.8,18.6,23.7), (17.7,22.8,24.75,23.7)])

c_1bit_lu = lib.new_cell('1bit_LU')
R(c_1bit_lu, metal1, [(-56.4,1.8,-28.95,3), (2.55,1.8,3.75,3.15), (2.55,1.8,25.65,3), (24.45,1.8,25.65,3.15), (24.45,1.8,121.05,3), (-30.15,1.95,3.75,3.15), (-50.7,4.2,-49.5,5.4), (-50.7,4.35,-49.5,14.85), (-11.7,6.3,-10.5,17.4), (-11.4,6.3,-10.2,7.5), (13.05,8.25,14.25,9.45), (13.2,8.25,14.4,14.4), (-6.45,10.05,-5.25,11.25), (-6.45,10.05,-5.25,11.25), (-6.45,10.05,-5.25,11.25), (-6.3,10.05,-5.4,10.95), (-6.3,10.05,-5.4,11.25), (18.15,10.2,19.35,14.85), (-46.35,10.35,-45.15,11.55), (-46.35,10.35,-45.15,18.75), (-6.3,10.35,-5.4,11.25), (18.15,10.35,19.35,11.55), (197.25,12.3,199.35,13.5), (-9.45,12.6,-8.25,13.8), (-2.25,12.6,-1.05,13.8), (-2.25,12.6,-1.05,13.8), (21.45,12.6,22.65,13.8), (-9.3,12.75,-8.4,13.95), (-2.1,12.75,-1.2,13.65), (-2.1,12.75,-1.2,13.65), (21.6,12.9,22.5,19.05), (35.4,12.9,36.6,14.1), (35.4,12.9,36.6,14.85), (-9.3,13.05,-8.4,19.65), (11.55,13.2,14.4,14.4), (-51.6,13.65,-49.5,14.85), (-13.05,16.2,-10.5,17.4), (-60.9,16.65,-58.65,17.85), (-59.85,16.65,-56.55,17.85), (-59.85,16.65,-58.65,20.85), (38.55,16.65,41.25,17.85), (38.55,16.65,39.75,23.1), (-46.35,17.4,-45.15,18.6), (-38.1,17.55,-37.05,18.45), (-38.1,17.55,-37.2,18.45), (-38.1,17.55,-37.2,19.5), (-46.2,17.7,-45.15,18.6), (-38.25,18.45,-37.05,19.65), (-9.75,18.6,-8.55,19.8), (-59.85,19.65,-58.65,20.85), (38.55,21.6,39.75,22.8), (1.5,28.2,26.55,29.7), (1.65,28.35,2.85,29.85), (25.2,28.35,26.4,29.85), (-31.2,28.65,2.85,29.85), (-56.25,28.8,-30,30), (25.2,28.8,120.45,30)])
R(c_1bit_lu, via1, [(-50.4,4.5,-49.8,5.1), (-11.1,6.6,-10.5,7.2), (13.35,8.55,13.95,9.15), (-6.15,10.35,-5.55,10.95), (-6.15,10.35,-5.55,10.95), (-6.15,10.35,-5.55,10.95), (-46.05,10.65,-45.45,11.25), (18.45,10.65,19.05,11.25), (-9.15,12.9,-8.55,13.5), (-1.95,12.9,-1.35,13.5), (-1.95,12.9,-1.35,13.5), (21.75,12.9,22.35,13.5), (35.7,13.2,36.3,13.8), (-46.05,17.7,-45.45,18.3), (-37.95,18.75,-37.35,19.35), (-9.45,18.9,-8.85,19.5), (-59.55,19.95,-58.95,20.55), (38.85,21.9,39.45,22.5)])
R(c_1bit_lu, metal2, [(-50.85,4.2,41.25,5.1), (-50.7,4.2,-49.5,5.4), (40.35,4.2,41.25,7.05), (40.35,6.15,42,7.05), (-11.4,6.3,-10.2,7.5), (-11.25,6.45,39,7.35), (38.1,6.45,39,9.45), (13.05,8.25,14.25,9.45), (13.5,8.4,37.05,9.3), (36.15,8.4,37.05,11.7), (38.1,8.55,42,9.45), (-6.45,10.05,-5.25,11.25), (-6.45,10.05,-5.25,11.25), (-6.45,10.05,-5.25,11.25), (-46.35,10.35,-45.15,11.55), (18.15,10.35,19.35,11.55), (-46.2,10.5,-31.95,11.4), (-32.85,10.5,-5.4,11.4), (-6.3,10.5,7.35,11.4), (6.45,10.5,19.2,11.4), (36.15,10.8,42,11.7), (-9.45,12.6,-8.25,13.8), (-2.25,12.6,-1.05,13.8), (-2.25,12.6,-1.05,13.8), (21.45,12.6,22.65,13.8), (-9.3,12.75,-6.3,13.65), (-7.2,12.75,-1.2,13.65), (-2.1,12.75,16.05,13.65), (15.15,12.75,22.5,13.65), (35.4,12.9,36.6,14.1), (35.55,13.05,42,13.95), (-60.9,14.85,-41.7,15.75), (-42.6,14.85,-41.7,18.45), (-46.35,17.4,-45.15,18.6), (-50.4,17.55,-49.5,20.7), (-50.4,17.55,-45.3,18.45), (-42.6,17.55,-41.7,19.8), (-38.25,18.45,-37.05,19.65), (-9.75,18.6,-8.55,19.8), (-42.75,18.75,-37.35,19.95), (-38.4,18.75,-8.4,19.95), (-59.85,19.65,-58.65,20.85), (-59.7,19.8,-49.5,20.7), (38.55,21.6,39.75,22.8), (-61.35,21.75,37.95,22.65), (37.05,21.75,39.6,22.65), (41.25,22.8,42.15,27), (-61.05,26.1,42.15,27)])
c_1bit_lu.add(gdstk.Reference(c_4mux1, (120,0.9)))
c_1bit_lu.add(gdstk.Reference(and_, (29.85,0.9)))
c_1bit_lu.add(gdstk.Reference(not_, (-57.45,0.9)))
c_1bit_lu.add(gdstk.Reference(c_or, (-7.65,0.75)))
c_1bit_lu.add(gdstk.Reference(xor, (-41.25,0.9)))

lib.write_gds('1bit_LU.gds')
